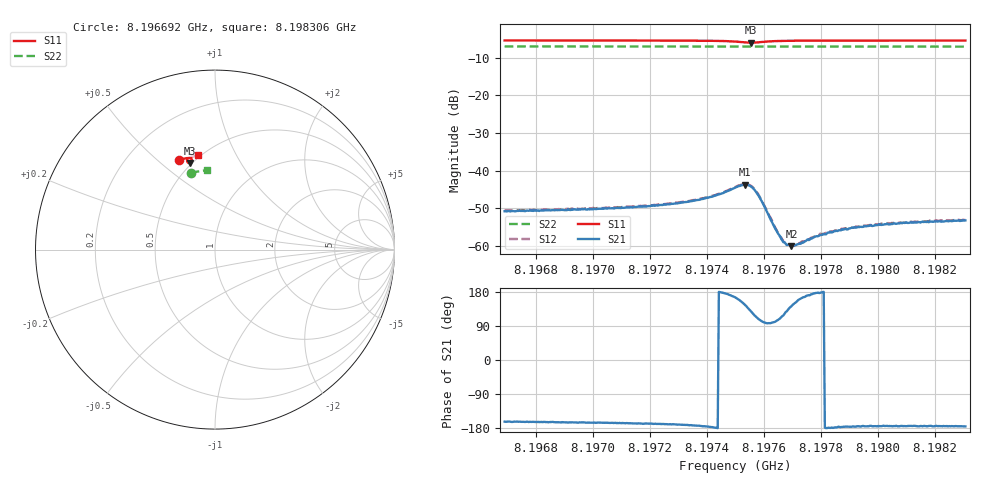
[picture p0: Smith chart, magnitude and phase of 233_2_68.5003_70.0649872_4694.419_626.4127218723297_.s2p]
#  HZ  S  RI  R  50.00
! Rohde & Schwarz Vector Network Analyzer
! Rohde-Schwarz,ZNB20-2Port,1311601062101988,3.16
! Created: UTC 3/20/2024, 5:14:08 PM
! freq[Hz]  re:S11  im:S11  re:S21  im:S21  re:S12  im:S12  re:S22  im:S22
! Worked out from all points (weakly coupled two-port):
!   401 points, 8.196692 GHz to 8.198306 GHz, reference 50 ohm
!   highest |S21| = -43.69 dB at 8.197535 GHz (marker M1); lowest = -60.0 dB at 8.197697 GHz (marker M2)
!   lowest |S11| = -6.0 dB at 8.197555 GHz (marker M3), VSWR 3.01, Z = 24.5 + j31.6 ohm
!   |S11| at or under -10 dB: nowhere
!   |S22| runs from -7.1 to -7.0 dB; largest |S21 - S12| = 0.0003
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8.1966916e9  -0.2024 0.4966  -0.00277 -0.000861  -0.00284 -0.000789  -0.1352 0.4259
8.196962e9  -0.1834 0.5035  -0.00298 -0.000821  -0.00306 -0.000659  -0.1203 0.4298
8.1971033e9  -0.1729 0.5068  -0.00314 -0.000769  -0.00324 -0.000654  -0.1126 0.4317
8.1972325e9  -0.1627 0.5095  -0.00342 -0.000674  -0.00353 -0.000552  -0.1056 0.4332
8.1973173e9  -0.1549 0.5109  -0.00376 -0.000593  -0.00386 -0.000433  -0.1009 0.4341
8.1973819e9  -0.148 0.5114  -0.0042 -0.000405  -0.00428 -0.000241  -0.0971 0.4347
8.1974505e9  -0.1382 0.5096  -0.00496 0.000123  -0.00506 0.000357  -0.0931 0.4354
8.1974989e9  -0.1298 0.5024  -0.00577 0.00148  -0.00579 0.00175  -0.0903 0.4357
8.1975352e9  -0.1296 0.4886  -0.00532 0.0038  -0.00528 0.00408  -0.0886 0.4358
8.1975554e9  -0.1375 0.482  -0.00378 0.00484  -0.00363 0.00509  -0.0876 0.4359
8.1975716e9  -0.1462 0.4821  -0.00224 0.0048  -0.0021 0.00502  -0.0869 0.4359
8.1975877e9  -0.1525 0.4867  -0.00108 0.00409  -0.000899 0.00426  -0.0862 0.4363
8.1976402e9  -0.1541 0.5028  -0.000324 0.00166  -0.000271 0.00172  -0.0833 0.4371
8.1976604e9  -0.1518 0.5063  -0.000486 0.00115  -0.000435 0.00123  -0.0821 0.4374
8.1976765e9  -0.1499 0.5084  -0.000641 0.000862  -0.000612 0.000932  -0.0814 0.4375
8.1976967e9  -0.1476 0.5106  -0.000784 0.000616  -0.000766 0.000675  -0.0802 0.4377
8.1977169e9  -0.1454 0.5122  -0.000957 0.000436  -0.000955 0.000489  -0.079 0.4379
8.1977694e9  -0.1399 0.5151  -0.00126 0.00014  -0.00129 0.000172  -0.076 0.4383
8.1978662e9  -0.131 0.5183  -0.00162 -7.75e-05  -0.00166 -9.05e-06  -0.0704 0.4392
8.1979147e9  -0.1271 0.5195  -0.00176 -0.000133  -0.00176 -5.79e-05  -0.0677 0.4395
8.1980398e9  -0.1172 0.522  -0.00193 -0.000195  -0.00198 -0.000123  -0.0607 0.4403
8.1983062e9  -0.0974 0.5259  -0.00219 -0.000179  -0.00222 -5.71e-05  -0.0456 0.4417
